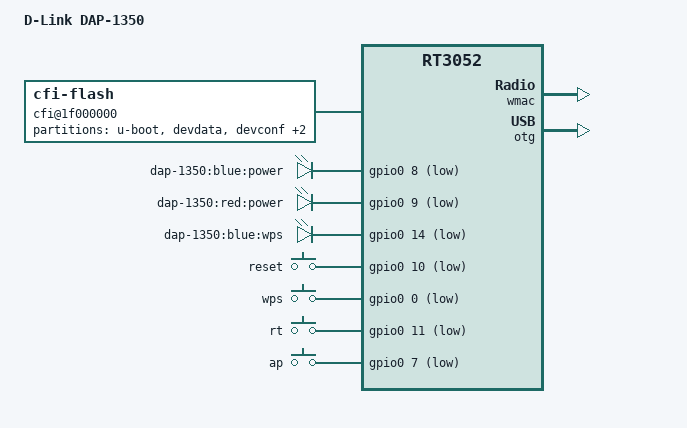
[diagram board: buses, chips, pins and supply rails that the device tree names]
/dts-v1/;

#include "rt3050.dtsi"

/ {
	compatible = "DAP-1350", "ralink,rt3052-soc";
	model = "D-Link DAP-1350";

	chosen {
		bootargs = "console=ttyS0,115200";
	};

	cfi@1f000000 {
		compatible = "cfi-flash";
		reg = <0x1f000000 0x800000>;
		bank-width = <2>;
		device-width = <2>;
		#address-cells = <1>;
		#size-cells = <1>;

		partition@0 {
			label = "u-boot";
			reg = <0x0 0x30000>;
			read-only;
		};

		devdata: partition@30000 {
			label = "devdata";
			reg = <0x30000 0x10000>;
			read-only;
		};

		partition@40000 {
			label = "devconf";
			reg = <0x40000 0x30000>;
			read-only;
		};

		partition@70000 {
			label = "devlang";
			reg = <0x70000 0x40000>;
			read-only;
		};

		partition@b0000 {
			label = "firmware";
			reg = <0xb0000 0x750000>;
		};
	};

	gpio-leds {
		compatible = "gpio-leds";

		power {
			label = "dap-1350:blue:power";
			gpios = <&gpio0 8 1>;
		};

		power2 {
			label = "dap-1350:red:power";
			gpios = <&gpio0 9 1>;
		};

		wps {
			label = "dap-1350:blue:wps";
			gpios = <&gpio0 14 1>;
		};
	};

	gpio-keys-polled {
		compatible = "gpio-keys-polled";
		#address-cells = <1>;
		#size-cells = <0>;
		poll-interval = <20>;

		reset {
			label = "reset";
			gpios = <&gpio0 10 1>;
			linux,code = <0x198>;
		};

		wps {
			label = "wps";
			gpios = <&gpio0 0 1>;
			linux,code = <0x211>;
		};

		rt {
			label = "rt";
			gpios = <&gpio0 11 1>;
			linux,code = <0x100>;
		};

		ap {
			label = "ap";
			gpios = <&gpio0 7 1>;
			linux,code = <0x101>;
		};
	};
};

&pinctrl {
	state_default: pinctrl0 {
		gpio {
			ralink,group = "spi", "i2c", "jtag", "rgmii", "mdio", "uartf";
			ralink,function = "gpio";
		};
	};
};

&ethernet {
	mtd-mac-address = <&devdata 0x2e>;
};

&esw {
	mediatek,portmap = <0x2f>;
};

&wmac {
	ralink,mtd-eeprom = <&devdata 0>;
};

&otg {
	status = "okay";
};
